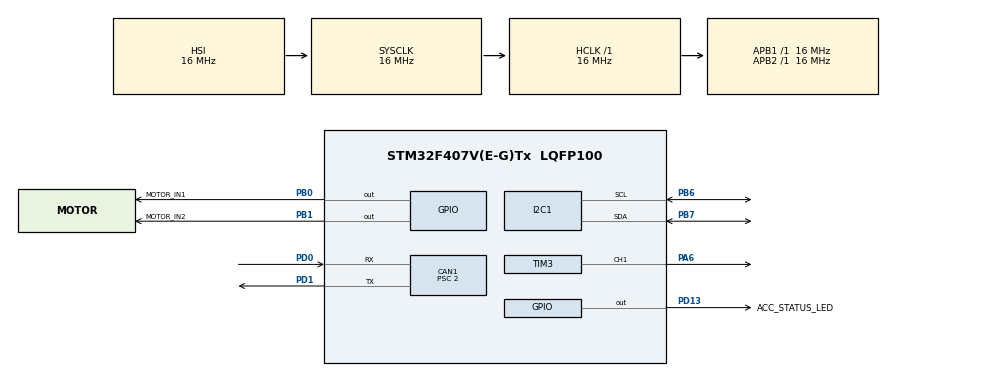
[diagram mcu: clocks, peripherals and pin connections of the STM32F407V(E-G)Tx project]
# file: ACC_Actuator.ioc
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CAN1.BS1=CAN_BS1_13TQ
CAN1.BS2=CAN_BS2_2TQ
CAN1.CalculateBaudRate=500000
CAN1.CalculateTimeBit=2000
CAN1.CalculateTimeQuantum=125.0
CAN1.Prescaler=2
I2C1.I2C_Mode=I2C_Fast
IWDG.Prescaler=IWDG_PRESCALER_32
IWDG.Reload=500
Mcu.Family=STM32F4
Mcu.Name=STM32F407V(E-G)Tx
Mcu.Package=LQFP100
NVIC.CAN1_RX0_IRQn=true\:5\:0\:true\:false\:true\:true\:true\:true
NVIC.PriorityGroup=NVIC_PRIORITYGROUP_4
NVIC.TIM1_UP_TIM10_IRQn=true\:15\:0\:false\:false\:true\:false\:true\:true
NVIC.TimeBase=TIM1_UP_TIM10_IRQn
NVIC.TimeBaseIP=TIM1
PA6.Signal=S_TIM3_CH1
PB0.GPIO_Label=MOTOR_IN1
PB0.Signal=GPIO_Output
PB1.GPIO_Label=MOTOR_IN2
PB1.Signal=GPIO_Output
PB6.Mode=I2C
PB6.Signal=I2C1_SCL
PB7.Mode=I2C
PB7.Signal=I2C1_SDA
PD0.Mode=CAN_Activate
PD0.Signal=CAN1_RX
PD1.Mode=CAN_Activate
PD1.Signal=CAN1_TX
PD13.GPIO_Label=ACC_STATUS_LED
PD13.Signal=GPIO_Output
ProjectManager.HeapSize=0x200
ProjectManager.StackSize=0x400
ProjectManager.TargetToolchain=STM32CubeIDE
RCC.AHBFreq_Value=16000000
RCC.APB1Freq_Value=16000000
RCC.APB2Freq_Value=16000000
RCC.CortexFreq_Value=16000000
RCC.HSE_VALUE=25000000
RCC.HSI_VALUE=16000000
RCC.LSE_VALUE=32768
RCC.SYSCLKFreq_VALUE=16000000
RCC.VCOOutputFreq_Value=192000000
SH.S_TIM3_CH1.0=TIM3_CH1,PWM Generation1 CH1
TIM3.Channel-PWM\ Generation1\ CH1=TIM_CHANNEL_1
TIM3.Period=999
TIM3.Prescaler=15
VP_IWDG_VS_IWDG.Mode=IWDG_Activate
VP_SYS_VS_tim1.Mode=TIM1
board=custom

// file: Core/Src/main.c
/* USER CODE BEGIN Header */
/**
  ******************************************************************************
  * @file           : main.c
  * @brief          : Main program body
  ******************************************************************************
  * @attention
  *
  * Copyright (c) 2026 STMicroelectronics.
  * All rights reserved.
  *
  * This software is licensed under terms that can be found in the LICENSE file
  * in the root directory of this software component.
  * If no LICENSE file comes with this software, it is provided AS-IS.
  *
  ******************************************************************************
  */
/* USER CODE END Header */
#include "main.h"
#include "can.h"
#include "i2c.h"
#include "iwdg.h"
#include "tim.h"
#include "gpio.h"

/* USER CODE BEGIN Includes */
#include "FreeRTOS.h"
#include "task.h"
#include "can_driver.h"
#include "motor_driver.h"
#include "app_tasks.h"
/* USER CODE END Includes */

/* USER CODE BEGIN PV */
extern CAN_HandleTypeDef  hcan1;
extern TIM_HandleTypeDef  htim3;
extern I2C_HandleTypeDef  hi2c1;
extern IWDG_HandleTypeDef hiwdg;

//void SystemClock_Config(void);
//static void MX_GPIO_Init(void);
/* USER CODE END PV */

void SystemClock_Config(void);

int main(void)
{

  /* MCU Configuration--------------------------------------------------------*/

  /* Reset of all peripherals, Initializes the Flash interface and the Systick. */
  HAL_Init();

  /* Configure the system clock */
  SystemClock_Config();

  /* Initialize all configured peripherals */
  MX_GPIO_Init();
  MX_CAN1_Init();
  MX_I2C1_Init();
  MX_TIM3_Init();
  MX_IWDG_Init();
  /* USER CODE BEGIN 2 */
  if (ACC_CanDriver_Init(&hcan1) != HAL_OK)
  {
      Error_Handler();
  }
  if (ACC_Motor_Init(&htim3) != HAL_OK)
  {
      Error_Handler();
  }

  /* Creates all queues, the display mailbox, and all six application
   * tasks (PRD §3.4). Must run before the scheduler starts. */
  ACC_Tasks_Init();
  vTaskStartScheduler();

  /* USER CODE END 2 */

  /* Infinite loop */
  while (1)
  {

  }
}

void SystemClock_Config(void)
{
  RCC_OscInitTypeDef RCC_OscInitStruct = {0};
  RCC_ClkInitTypeDef RCC_ClkInitStruct = {0};

  /** Configure the main internal regulator output voltage
  */
  __HAL_RCC_PWR_CLK_ENABLE();
  __HAL_PWR_VOLTAGESCALING_CONFIG(PWR_REGULATOR_VOLTAGE_SCALE1);

  /** Initializes the RCC Oscillators according to the specified parameters
  * in the RCC_OscInitTypeDef structure.
  */
  RCC_OscInitStruct.OscillatorType = RCC_OSCILLATORTYPE_HSI|RCC_OSCILLATORTYPE_LSI;
  RCC_OscInitStruct.HSIState = RCC_HSI_ON;
  RCC_OscInitStruct.HSICalibrationValue = RCC_HSICALIBRATION_DEFAULT;
  RCC_OscInitStruct.LSIState = RCC_LSI_ON;
  RCC_OscInitStruct.PLL.PLLState = RCC_PLL_NONE;
  if (HAL_RCC_OscConfig(&RCC_OscInitStruct) != HAL_OK)
  {
    Error_Handler();
  }

  /** Initializes the CPU, AHB and APB buses clocks
  */
  RCC_ClkInitStruct.ClockType = RCC_CLOCKTYPE_HCLK|RCC_CLOCKTYPE_SYSCLK
                              |RCC_CLOCKTYPE_PCLK1|RCC_CLOCKTYPE_PCLK2;
  RCC_ClkInitStruct.SYSCLKSource = RCC_SYSCLKSOURCE_HSI;
  RCC_ClkInitStruct.AHBCLKDivider = RCC_SYSCLK_DIV1;
  RCC_ClkInitStruct.APB1CLKDivider = RCC_HCLK_DIV1;
  RCC_ClkInitStruct.APB2CLKDivider = RCC_HCLK_DIV1;

  if (HAL_RCC_ClockConfig(&RCC_ClkInitStruct, FLASH_LATENCY_0) != HAL_OK)
  {
    Error_Handler();
  }
}

/* USER CODE BEGIN 4 */
/**
 * @brief HAL error handler. Reaching this means a peripheral init call
 *        above failed -- with no scheduler running yet, all we can safely
 *        do is stop and flash the status LED to signal bring-up failure.
 */

/* USER CODE END 4 */

void HAL_TIM_PeriodElapsedCallback(TIM_HandleTypeDef *htim)
{
  if (htim->Instance == TIM1)
  {
    HAL_IncTick();
  }
}

void Error_Handler(void)
{
  /* USER CODE BEGIN Error_Handler_Debug */
  /* User can add his own implementation to report the HAL error return state */
  __disable_irq();
  while (1)
  {
	  HAL_GPIO_TogglePin(ACC_STATUS_LED_GPIO_Port, ACC_STATUS_LED_Pin);
	  for (volatile uint32_t i = 0; i < 500000U; i++) { }
  }
  /* USER CODE END Error_Handler_Debug */
}
